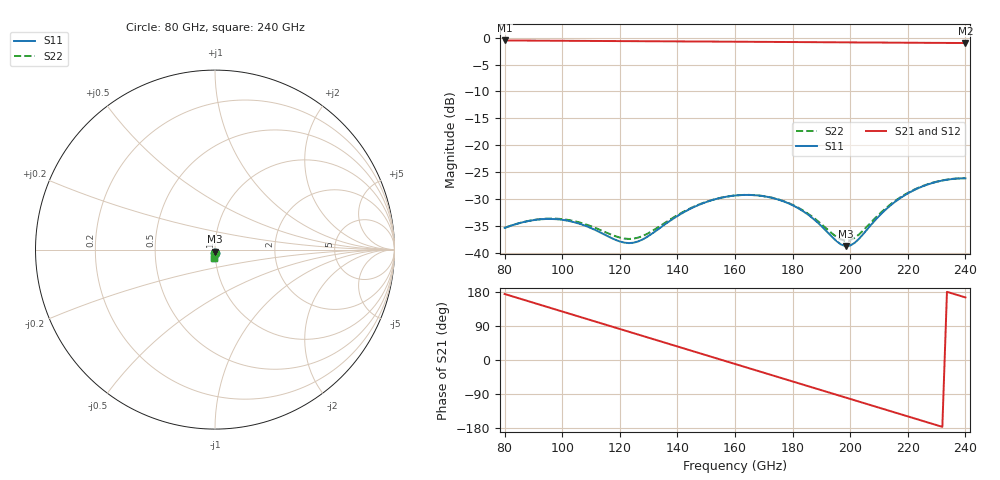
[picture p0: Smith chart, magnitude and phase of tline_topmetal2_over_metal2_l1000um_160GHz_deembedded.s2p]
! Created with skrf 2.2.0 (http://scikit-rf.org).
# GHz S DB R 50.0
! Port[1] = P1
! Port[2] = P2
!freq dBS11 angS11 dBS21 angS21 dBS12 angS12 dBS22 angS22
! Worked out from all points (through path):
!   101 points, 80 GHz to 240 GHz, reference 50 ohm
!   highest |S21| = -0.53 dB at 80 GHz (marker M1); lowest = -1.0 dB at 240 GHz (marker M2)
!   group delay of S21, straight-line fit = 6.41 ps
!   lowest |S11| = -38.8 dB at 198.4 GHz (marker M3), VSWR 1.02, Z = 49.9 - j1.14 ohm
!   |S11| at or under -10 dB: start of sweep to end of sweep
!   |S22| runs from -37.7 to -26.1 dB; largest |S21 - S12| = 2.1e-14
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80  -35.34 -86.0  -0.53 174.2  -0.53 174.2  -35.36 -86.4
86.4  -34.29 -89.7  -0.55 159.4  -0.55 159.4  -34.29 -89.5
92.8  -33.75 -96.2  -0.57 144.6  -0.57 144.6  -33.70 -95.5
100.8  -33.92 -105.0  -0.59 126.2  -0.59 126.2  -33.78 -103.8
107.2  -34.80 -110.4  -0.61 111.4  -0.61 111.4  -34.53 -108.8
115.2  -36.73 -109.7  -0.63 92.9  -0.63 92.9  -36.20 -108.2
123.2  -38.19 -93.1  -0.66 74.5  -0.66 74.5  -37.41 -94.1
128  -37.48 -79.6  -0.67 63.4  -0.67 63.4  -36.85 -82.4
134.4  -35.19 -70.0  -0.69 48.6  -0.69 48.6  -34.86 -73.4
147.2  -31.13 -75.9  -0.72 19.1  -0.72 19.1  -31.07 -78.1
153.6  -29.96 -84.2  -0.74 4.3  -0.74 4.3  -29.94 -85.8
160  -29.34 -93.8  -0.76 -10.5  -0.76 -10.5  -29.34 -94.8
166.4  -29.27 -103.8  -0.78 -25.2  -0.78 -25.2  -29.26 -104.3
172.8  -29.77 -113.5  -0.80 -40.0  -0.80 -40.0  -29.74 -113.4
180.8  -31.36 -123.7  -0.83 -58.4  -0.83 -58.4  -31.27 -122.7
187.2  -33.66 -127.4  -0.85 -73.2  -0.85 -73.2  -33.43 -125.5
198.4  -38.75 -96.7  -0.88 -99.0  -0.88 -99.0  -37.74 -96.9
201.6  -38.12 -77.9  -0.89 -106.4  -0.89 -106.4  -37.20 -80.9
214.4  -31.00 -59.7  -0.93 -135.9  -0.93 -135.9  -30.82 -63.2
227.2  -27.24 -76.2  -0.97 -165.4  -0.97 -165.4  -27.19 -78.5
233.6  -26.41 -86.8  -0.99 179.9  -0.99 179.9  -26.38 -88.8
240  -26.15 -97.8  -1.01 165.1  -1.01 165.1  -26.13 -99.4
